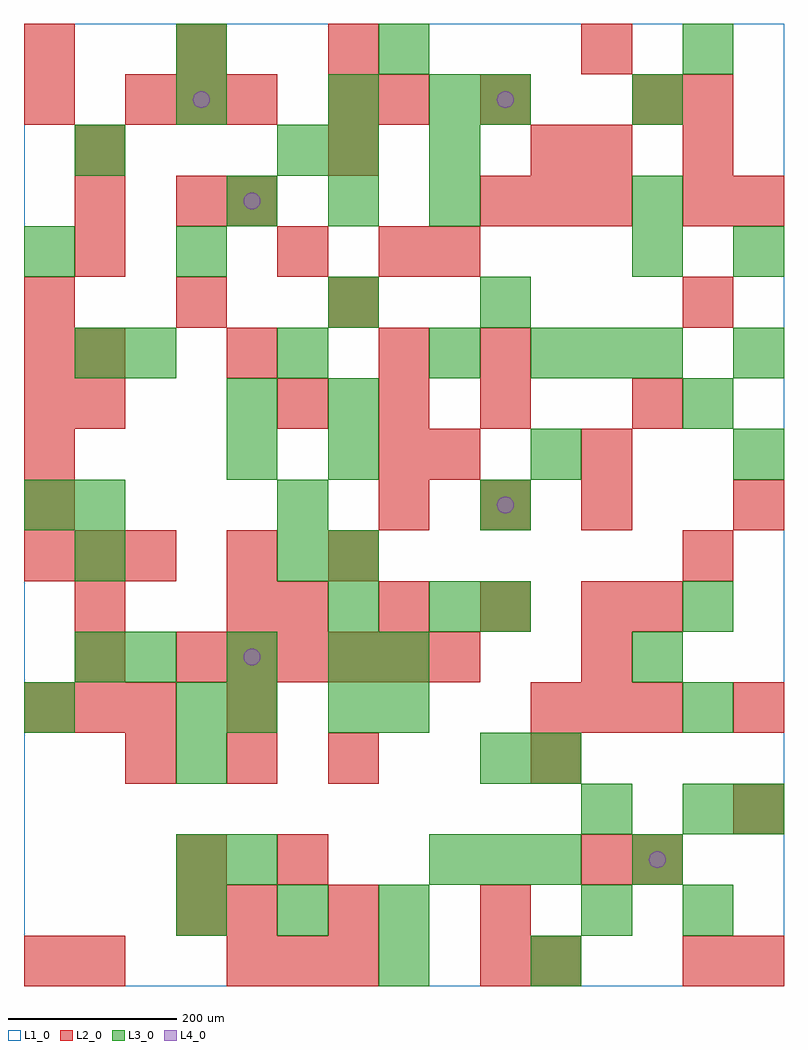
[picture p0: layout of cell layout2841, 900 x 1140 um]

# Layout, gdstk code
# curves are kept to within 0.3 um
import gdstk
lib = gdstk.Library(unit=1e-6, precision=1e-09)
def R(c, l, rs):  # rectangles x0, y0, x1, y1
    for r in rs: c.add(gdstk.rectangle(r[:2], r[2:], *l))
def A(c, l, x, y, w, h, nx, ny, dx, dy):  # array of equal rectangles
    R(c, l, [(x+i*dx, y+j*dy, x+i*dx+w, y+j*dy+h) for i in range(nx) for j in range(ny)])
def P(c, l, *ps):  # polygons
    for p in ps: c.add(gdstk.Polygon(p, *l))
L1_0 = (1, 0)
L2_0 = (2, 0)
L3_0 = (3, 0)
L4_0 = (4, 0)

layout2841 = lib.new_cell('layout2841')
R(layout2841, L1_0, [(0,0,900,1140)])
A(layout2841, L2_0, 240, 0, 60, 60, 3, 1, 60, 0)
A(layout2841, L2_0, 660, 120, 60, 60, 1, 3, 0, 240)
A(layout2841, L2_0, 120, 240, 60, 60, 3, 1, 120, 0)
A(layout2841, L2_0, 0, 300, 60, 60, 3, 2, 60, 180)
A(layout2841, L2_0, 600, 300, 60, 60, 3, 1, 60, 0)
A(layout2841, L2_0, 180, 360, 60, 60, 6, 1, 60, 0)
A(layout2841, L2_0, 300, 420, 60, 60, 4, 1, 120, 0)
A(layout2841, L2_0, 0, 540, 60, 60, 1, 4, 0, 60)
A(layout2841, L2_0, 420, 540, 60, 60, 3, 1, 120, 0)
A(layout2841, L2_0, 300, 660, 60, 60, 3, 1, 120, 0)
A(layout2841, L2_0, 60, 720, 60, 60, 3, 1, 180, 0)
A(layout2841, L2_0, 0, 780, 60, 60, 3, 2, 180, 300)
A(layout2841, L2_0, 60, 840, 60, 60, 1, 3, 0, 60)
A(layout2841, L2_0, 540, 900, 60, 60, 3, 1, 60, 0)
A(layout2841, L2_0, 780, 900, 60, 60, 1, 3, 0, 60)
A(layout2841, L2_0, 120, 1020, 60, 60, 3, 1, 60, 0)
R(layout2841, L2_0, [(0,0,60,60), (60,0,120,60), (540,0,600,60), (600,0,660,60), (780,0,840,60), (840,0,900,60), (180,60,240,120), (240,60,300,120), (360,60,420,120), (540,60,600,120), (180,120,240,180), (300,120,360,180), (720,120,780,180), (840,180,900,240), (600,240,660,300), (240,300,300,360), (840,300,900,360), (60,360,120,420), (60,420,120,480), (240,420,300,480), (720,420,780,480), (240,480,300,540), (360,480,420,540), (780,480,840,540), (840,540,900,600), (420,600,480,660), (480,600,540,660), (60,660,120,720), (720,660,780,720), (540,720,600,780), (780,780,840,840), (300,840,360,900), (420,840,480,900), (480,840,540,900), (180,900,240,960), (240,900,300,960), (840,900,900,960), (360,960,420,1020), (600,960,660,1020), (660,960,720,1020), (0,1020,60,1080), (360,1020,420,1080), (420,1020,480,1080), (540,1020,600,1080), (720,1020,780,1080), (660,1080,720,1140)])
A(layout2841, L3_0, 180, 60, 60, 60, 3, 1, 120, 0)
A(layout2841, L3_0, 780, 60, 60, 60, 1, 4, 0, 120)
A(layout2841, L3_0, 480, 120, 60, 60, 3, 1, 60, 0)
A(layout2841, L3_0, 120, 360, 60, 60, 3, 1, 120, 0)
A(layout2841, L3_0, 60, 480, 60, 60, 1, 3, 0, 240)
A(layout2841, L3_0, 60, 540, 60, 60, 3, 1, 240, 0)
A(layout2841, L3_0, 360, 600, 60, 60, 3, 1, 240, 0)
A(layout2841, L3_0, 120, 720, 60, 60, 3, 1, 180, 0)
A(layout2841, L3_0, 600, 720, 60, 60, 3, 1, 60, 0)
A(layout2841, L3_0, 240, 900, 60, 60, 3, 1, 120, 0)
R(layout2841, L3_0, [(420,0,480,60), (600,0,660,60), (660,60,720,120), (180,120,240,180), (240,120,300,180), (720,120,780,180), (660,180,720,240), (840,180,900,240), (180,240,240,300), (540,240,600,300), (600,240,660,300), (0,300,60,360), (180,300,240,360), (240,300,300,360), (360,300,420,360), (420,300,480,360), (60,360,120,420), (420,360,480,420), (720,360,780,420), (360,420,420,480), (480,420,540,480), (540,420,600,480), (300,480,360,540), (360,480,420,540), (0,540,60,600), (240,600,300,660), (240,660,300,720), (360,660,420,720), (780,660,840,720), (840,720,900,780), (360,780,420,840), (540,780,600,840), (0,840,60,900), (180,840,240,900), (720,840,780,900), (840,840,900,900), (720,900,780,960), (300,960,360,1020), (360,960,420,1020), (480,960,540,1020), (180,1020,240,1080), (360,1020,420,1080), (480,1020,540,1080), (540,1020,600,1080), (720,1020,780,1080), (180,1080,240,1140), (420,1080,480,1140), (780,1080,840,1140)])
P(layout2841, L4_0, [(220,1050),(219.239,1053.827),(217.071,1057.071),(213.827,1059.239),(210,1060),(206.173,1059.239),(202.929,1057.071),(200.761,1053.827),(200,1050),(200.761,1046.173),(202.929,1042.929),(206.173,1040.761),(210,1040),(213.827,1040.761),(217.071,1042.929),(219.239,1046.173)],
  [(280,390),(279.239,393.827),(277.071,397.071),(273.827,399.239),(270,400),(266.173,399.239),(262.929,397.071),(260.761,393.827),(260,390),(260.761,386.173),(262.929,382.929),(266.173,380.761),(270,380),(273.827,380.761),(277.071,382.929),(279.239,386.173)],
  [(280,930),(279.239,933.827),(277.071,937.071),(273.827,939.239),(270,940),(266.173,939.239),(262.929,937.071),(260.761,933.827),(260,930),(260.761,926.173),(262.929,922.929),(266.173,920.761),(270,920),(273.827,920.761),(277.071,922.929),(279.239,926.173)],
  [(580,570),(579.239,573.827),(577.071,577.071),(573.827,579.239),(570,580),(566.173,579.239),(562.929,577.071),(560.761,573.827),(560,570),(560.761,566.173),(562.929,562.929),(566.173,560.761),(570,560),(573.827,560.761),(577.071,562.929),(579.239,566.173)],
  [(580,1050),(579.239,1053.827),(577.071,1057.071),(573.827,1059.239),(570,1060),(566.173,1059.239),(562.929,1057.071),(560.761,1053.827),(560,1050),(560.761,1046.173),(562.929,1042.929),(566.173,1040.761),(570,1040),(573.827,1040.761),(577.071,1042.929),(579.239,1046.173)],
  [(760,150),(759.239,153.827),(757.071,157.071),(753.827,159.239),(750,160),(746.173,159.239),(742.929,157.071),(740.761,153.827),(740,150),(740.761,146.173),(742.929,142.929),(746.173,140.761),(750,140),(753.827,140.761),(757.071,142.929),(759.239,146.173)])

lib.write_gds('layout2841.gds')
